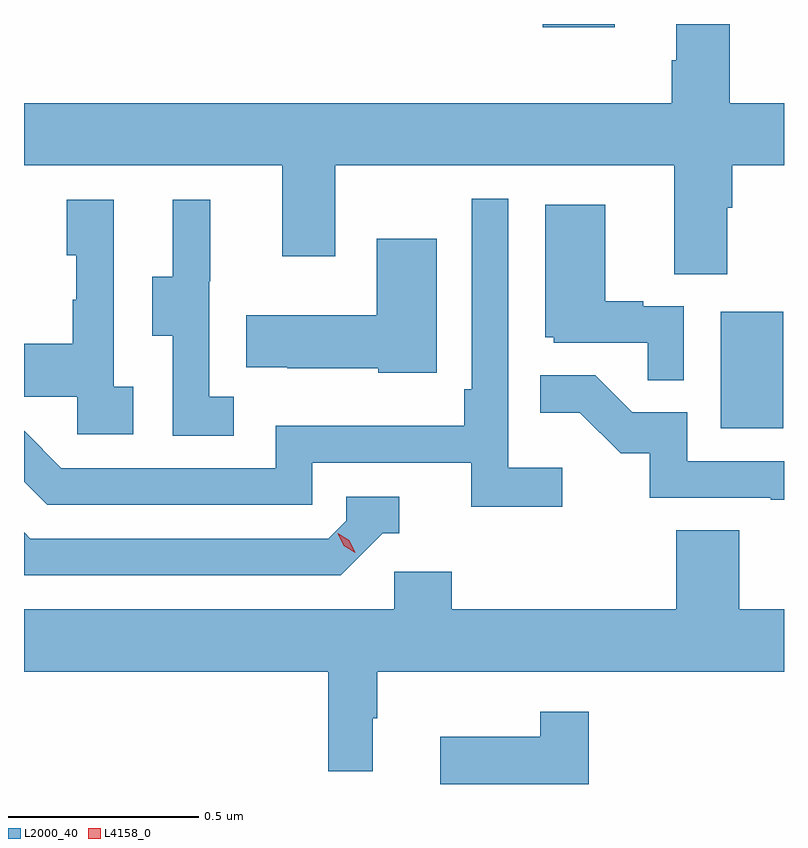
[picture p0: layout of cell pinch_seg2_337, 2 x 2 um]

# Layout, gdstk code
import gdstk
lib = gdstk.Library(unit=1e-6, precision=1e-09)
def R(c, l, rs):  # rectangles x0, y0, x1, y1
    for r in rs: c.add(gdstk.rectangle(r[:2], r[2:], *l))
def P(c, l, *ps):  # polygons
    for p in ps: c.add(gdstk.Polygon(p, *l))
L2000_40 = (2000, 40)
L4158_0 = (4158, 0)

pinch_seg2_337 = lib.new_cell('pinch_seg2_337')
R(pinch_seg2_337, L2000_40, [(996.308,632.292,996.472,632.599), (995.839,633.348,996.028,633.356)])
P(pinch_seg2_337, L2000_40, [(996.325,632.872),(996.338,632.872),(996.338,632.984),(996.474,632.984),(996.474,633.148),(996.331,633.148),(996.331,633.356),(996.191,633.356),(996.191,633.26),(996.179,633.26),(996.179,633.148),(994.474,633.148),(994.474,632.984),(995.153,632.984),(995.153,632.745),(995.293,632.745),(995.293,632.984),(996.185,632.984),(996.185,632.698),(996.325,632.698)],
  [(995.89,632.188),(995.748,632.188),(995.748,632.896),(995.652,632.896),(995.652,632.395),(995.632,632.395),(995.632,632.299),(995.136,632.299),(995.136,632.187),(994.572,632.187),(994.474,632.285),(994.474,632.152),(994.535,632.091),(995.232,632.091),(995.232,632.202),(995.651,632.202),(995.651,632.086),(995.89,632.086)],
  [(995.026,632.375),(994.962,632.375),(994.962,632.679),(994.964,632.679),(994.964,632.893),(994.865,632.893),(994.865,632.691),(994.811,632.691),(994.811,632.536),(994.866,632.536),(994.866,632.272),(995.026,632.272)],
  [(994.762,632.402),(994.71,632.402),(994.71,632.893),(994.586,632.893),(994.586,632.748),(994.612,632.748),(994.612,632.63),(994.602,632.63),(994.602,632.515),(994.474,632.515),(994.474,632.375),(994.614,632.375),(994.614,632.277),(994.762,632.277)],
  [(996.21,632.613),(996.104,632.613),(996.104,632.626),(996.004,632.626),(996.004,632.881),(995.846,632.881),(995.846,632.532),(995.868,632.532),(995.868,632.517),(996.115,632.517),(996.115,632.419),(996.21,632.419)],
  [(995.56,632.791),(995.402,632.791),(995.402,632.59),(995.059,632.59),(995.059,632.453),(995.167,632.453),(995.167,632.45),(995.406,632.45),(995.406,632.438),(995.56,632.438)],
  [(996.474,632.205),(996.219,632.205),(996.219,632.334),(996.075,632.334),(995.977,632.432),(995.833,632.432),(995.833,632.333),(995.937,632.333),(996.044,632.226),(996.121,632.226),(996.121,632.109),(996.439,632.109),(996.439,632.104),(996.474,632.104)],
  [(995.418,632.016),(995.461,632.016),(995.461,632.112),(995.322,632.112),(995.322,632.049),(995.274,632.001),(994.491,632.001),(994.474,632.018),(994.474,631.905),(995.307,631.905)],
  [(995.392,631.529),(995.404,631.529),(995.404,631.652),(996.474,631.652),(996.474,631.816),(996.356,631.816),(996.356,632.024),(996.191,632.024),(996.191,631.816),(995.6,631.816),(995.6,631.914),(995.448,631.914),(995.448,631.816),(994.474,631.816),(994.474,631.652),(995.275,631.652),(995.275,631.389),(995.392,631.389)],
  [(995.96,631.546),(995.832,631.546),(995.832,631.48),(995.57,631.48),(995.57,631.356),(995.96,631.356)])
P(pinch_seg2_337, L4158_0, [(995.346,631.964),(995.315,631.983),(995.299,632.016),(995.299,632.016),(995.3,632.016),(995.33,631.997),(995.346,631.964),(995.346,631.964)])

lib.write_gds('pinch_seg2_337.gds')
